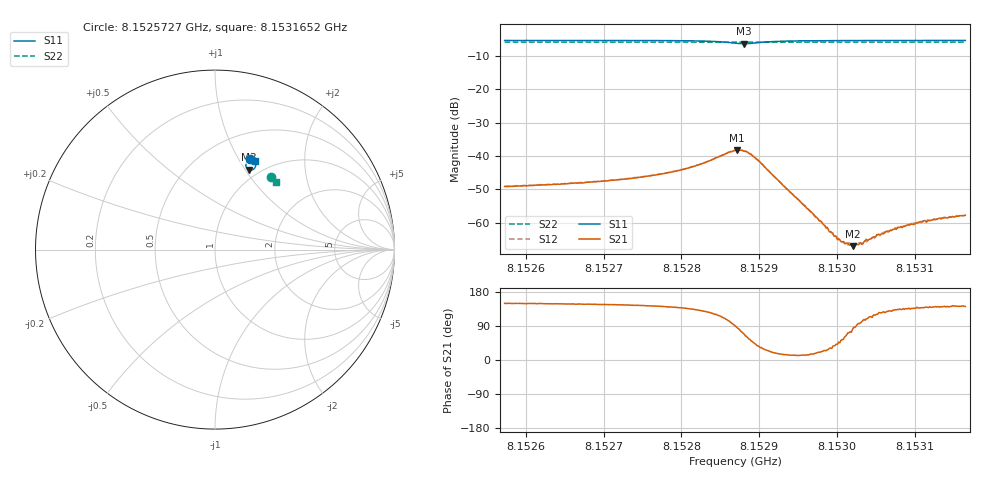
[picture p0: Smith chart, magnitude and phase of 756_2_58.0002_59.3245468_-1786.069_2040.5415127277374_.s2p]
#  HZ  S  RI  R  50.00
! Rohde & Schwarz Vector Network Analyzer
! Rohde-Schwarz,ZNB20-2Port,1311601062101988,3.16
! Created: UTC 3/21/2024, 1:24:12 AM
! freq[Hz]  re:S11  im:S11  re:S21  im:S21  re:S12  im:S12  re:S22  im:S22
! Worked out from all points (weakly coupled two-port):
!   401 points, 8.1525727 GHz to 8.1531652 GHz, reference 50 ohm
!   highest |S21| = -38.22 dB at 8.1528719 GHz (marker M1); lowest = -67.1 dB at 8.15302 GHz (marker M2)
!   lowest |S11| = -6.3 dB at 8.1528808 GHz (marker M3), VSWR 2.87, Z = 44.6 + j51.9 ohm
!   |S11| at or under -10 dB: nowhere
!   |S22| runs from -5.9 to -5.8 dB; largest |S21 - S12| = 0.00046
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8.15257268e9  0.1942 0.5043  -0.00299 0.00176  -0.00299 0.0018  0.3136 0.4034
8.15267192e9  0.2029 0.5006  -0.00332 0.00211  -0.00334 0.00216  0.3186 0.3992
8.15272081e9  0.208 0.498  -0.00365 0.00249  -0.00361 0.00258  0.321 0.3971
8.15277117e9  0.2145 0.4936  -0.00416 0.00327  -0.00414 0.00335  0.3235 0.3949
8.15281561e9  0.2222 0.4848  -0.00479 0.00501  -0.00476 0.00513  0.3257 0.3927
8.15286893e9  0.2099 0.4451  -0.000151 0.012  0.000185 0.0121  0.327 0.3893
8.1528719e9  0.2048 0.4435  0.00109 0.0122  0.0013 0.0122  0.327 0.3893
8.15288078e9  0.1874 0.4454  0.00433 0.0109  0.00476 0.0109  0.3267 0.3893
8.15288819e9  0.1766 0.4549  0.00631 0.00864  0.00667 0.00856  0.3268 0.3896
8.15289856e9  0.172 0.4707  0.00688 0.00522  0.00685 0.00514  0.3273 0.3897
8.15296818e9  0.198 0.4975  0.00134 0.00038  0.00131 0.000375  0.3319 0.3875
8.15299336e9  0.2032 0.4976  0.000612 0.00036  0.000585 0.00038  0.3333 0.3864
8.15300373e9  0.205 0.4974  0.000385 0.000389  0.000349 0.000398  0.3338 0.3861
8.15301114e9  0.2062 0.4972  0.000219 0.000427  0.00023 0.000413  0.3343 0.3856
8.15302002e9  0.2075 0.4971  7.15e-05 0.000436  7.08e-05 0.000464  0.3346 0.3852
8.15303039e9  0.2088 0.4968  -7.03e-05 0.000492  -6.35e-05 0.000496  0.3352 0.3847
8.15305113e9  0.2114 0.4963  -0.000334 0.000565  -0.000328 0.000542  0.3362 0.384
8.15306002e9  0.2125 0.4961  -0.000411 0.00054  -0.000412 0.000579  0.3367 0.3834
8.15306742e9  0.2132 0.496  -0.000478 0.000566  -0.000459 0.000579  0.3369 0.3832
8.15310742e9  0.2173 0.4946  -0.000759 0.000701  -0.000734 0.000664  0.3388 0.3814
8.15313853e9  0.2201 0.4936  -0.00092 0.00073  -0.00092 0.00077  0.3404 0.3801
8.15316519e9  0.2223 0.4929  -0.001 0.000803  -0.00101 0.00076  0.3415 0.3788
